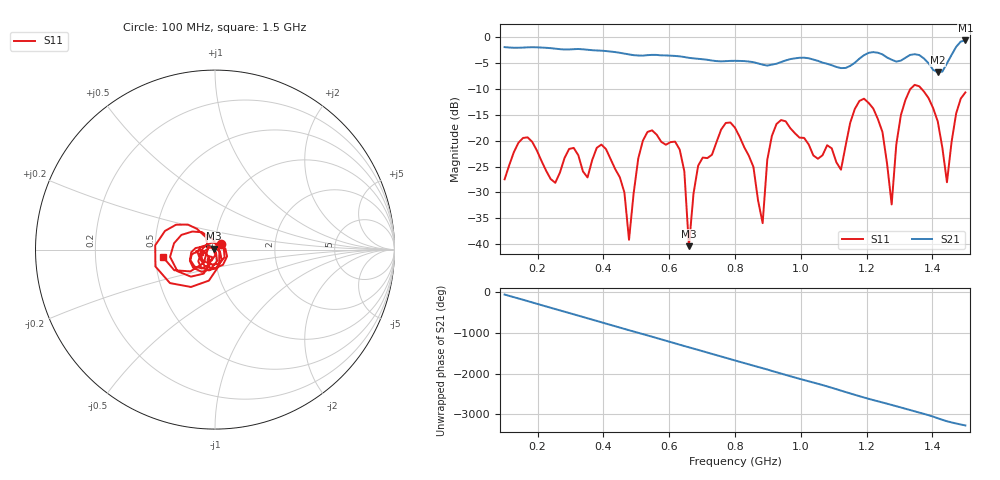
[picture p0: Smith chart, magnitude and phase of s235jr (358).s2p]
! NanoVNA-App
! Date: 2025-09-25 15:06:57
! Start: 100MHz Stop: 1,5GHz Points: 101
! S-Parameter data: F S11 S21 S12 S22
# Hz S RI R 50
!  Frequency  S11_Real  S11_Imag  S21_Real  S21_Imag  S12_Real  S12_Imag  S22_Real  S22_Imag
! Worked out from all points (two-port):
!   101 points, 100 MHz to 1.5 GHz, reference 50 ohm
!   highest |S21| = -0.67 dB at 1.5 GHz (marker M1); lowest = -6.8 dB at 1.416 GHz (marker M2)
!   |S21| within 3 dB of the highest: start of sweep to 619.9 MHz; 1.189 GHz to 1.255 GHz (66.51 MHz wide, 5.44 % of centre) (the widest 2 of 4)
!   lowest |S11| = -40.4 dB at 660 MHz (marker M3), VSWR 1.02, Z = 49.2 + j0.541 ohm
!   |S11| at or under -10 dB: start of sweep to 1.334 GHz; 1.367 GHz to end of sweep
!   S12 and S22 are empty: the file has one direction only
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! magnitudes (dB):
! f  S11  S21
! 100 MHz  -27.5  -2.0
! 170 MHz  -19.4  -2.0
! 338 MHz  -25.9  -2.4
! 408 MHz  -21.6  -2.7
! 478 MHz  -39.1  -3.4
! 520 MHz  -20.0  -3.6
! 576 MHz  -20.2  -3.5
! 632 MHz  -21.7  -3.7
! 660 MHz  -40.4  -4.0
! 688 MHz  -24.9  -4.2
! 800 MHz  -17.5  -4.6
! 884 MHz  -35.9  -5.3
! 926 MHz  -16.8  -5.2
! 1.038 GHz  -22.9  -4.4
! 1.122 GHz  -25.6  -6.0
! 1.192 GHz  -11.9  -3.5
! 1.248 GHz  -18.3  -3.4
! 1.276 GHz  -32.3  -4.4
! 1.332 GHz  -10.1  -3.5
! 1.416 GHz  -16.3  -6.8
! 1.444 GHz  -28.0  -5.1
! 1.5 GHz  -10.7  -0.7
